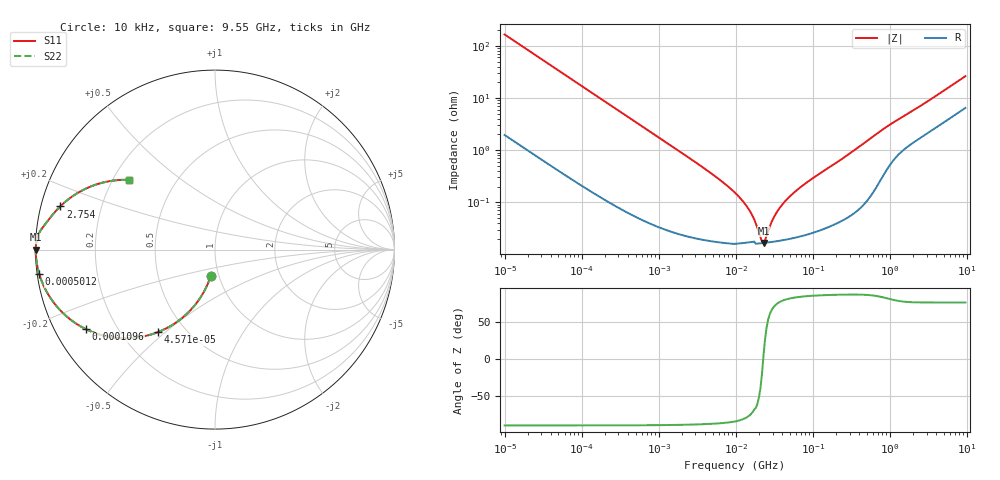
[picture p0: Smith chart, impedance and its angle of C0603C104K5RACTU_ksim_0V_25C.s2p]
! C0603C104K5RAC
! Temp = 25?C, Bias = 0VDC, Shunt
! KEMET S2P Model
# HZ S DB R 50
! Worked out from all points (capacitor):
!   300 points, 10 kHz to 9.55 GHz, reference 50 ohm
!   read as one part in shunt: C = 96.1 nF near 10.47 kHz
!   lowest |Z| = 16.6 mohm at 22.91 MHz (marker M1)
!   series resonance near 22.73 MHz, so ESL is about 510 pH
!   S11 on the Smith chart (normalised r, x): 10 kHz: 0.91, -0.28; 45.71 kHz: 0.35, -0.47; 109.6 kHz: 0.09, -0.28; 501.2 kHz: 0.01, -0.07; 2.754 GHz: 0.06, +0.14; 9.55 GHz: 0.26, +0.33
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10000  -16.51 -99.3  -0.11 -8.6  -0.11 -8.6  -16.51 -99.3
22908.68  -9.81 -109.5  -0.51 -18.9  -0.51 -18.9  -9.81 -109.5
45708.81  -5.07 -124.6  -1.69 -33.9  -1.69 -33.9  -5.07 -124.6
100000  -1.71 -145.9  -5.04 -55.2  -5.04 -55.2  -1.71 -145.9
109647.8  -1.47 -148.3  -5.59 -57.6  -5.59 -57.6  -1.47 -148.3
208929.7  -0.48 -161.8  -10.12 -71.1  -10.12 -71.1  -0.48 -161.8
501187  -0.10 -172.1  -17.24 -81.2  -17.24 -81.2  -0.10 -172.1
1000000  -0.03 -176.0  -23.10 -84.9  -23.10 -84.9  -0.03 -176.0
4786299  -0.01 -179.2  -36.85 -86.3  -36.85 -86.3  -0.01 -179.2
1e7  -0.01 -179.7  -44.58 -83.4  -44.58 -83.4  -0.01 -179.7
1.584892e7  -0.01 -179.9  -52.19 -73.6  -52.19 -73.6  -0.01 -179.9
1.819702e7  -0.01 -179.9  -56.08 -65.8  -56.08 -65.8  -0.01 -179.9
2.187762e7  -0.01 -180.0  -63.08 -20.2  -63.08 -20.2  -0.01 -180.0
2.290868e7  -0.01 180.0  -63.54 4.5  -63.54 4.5  -0.01 180.0
3.019952e7  -0.01 179.9  -54.57 68.0  -54.57 68.0  -0.01 179.9
3.801893e7  -0.01 179.8  -49.71 76.8  -49.71 76.8  -0.01 179.8
5.495406e7  -0.01 179.7  -44.65 81.6  -44.65 81.6  -0.01 179.7
1e8  -0.01 179.3  -38.74 84.2  -38.74 84.2  -0.01 179.3
1e9  -0.24 173.2  -18.41 73.6  -18.41 73.6  -0.24 173.2
2.754226e9  -0.96 164.4  -11.14 60.2  -11.14 60.2  -0.96 164.4
5.01187e9  -1.98 154.7  -7.12 50.5  -7.12 50.5  -1.98 154.7
9.549916e9  -4.17 141.1  -3.77 36.8  -3.77 36.8  -4.17 141.1
